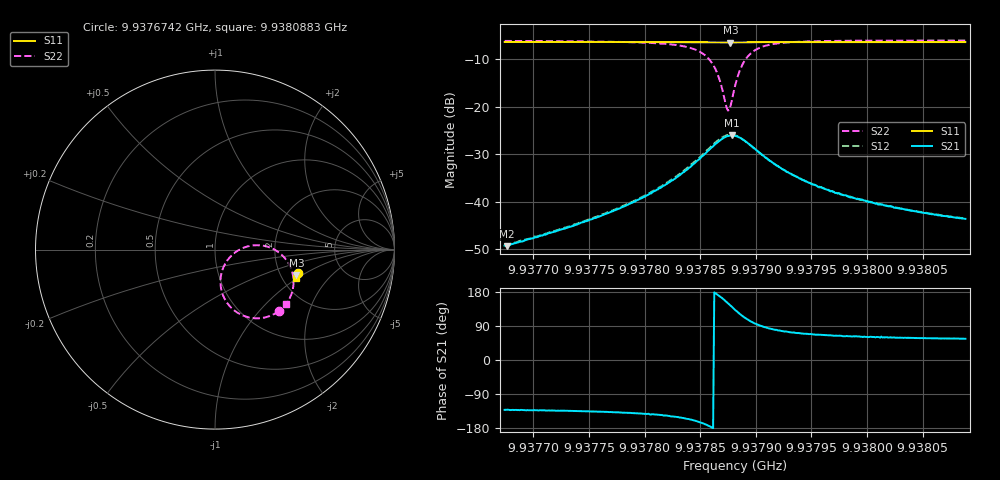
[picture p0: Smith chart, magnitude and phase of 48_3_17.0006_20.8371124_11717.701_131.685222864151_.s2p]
#  HZ  S  RI  R  50.00
! Rohde & Schwarz Vector Network Analyzer
! Rohde-Schwarz,ZNB20-2Port,1311601062101988,3.16
! Created: UTC 3/20/2024, 10:54:11 PM
! freq[Hz]  re:S11  im:S11  re:S21  im:S21  re:S12  im:S12  re:S22  im:S22
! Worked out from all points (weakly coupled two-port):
!   401 points, 9.9376742 GHz to 9.9380883 GHz, reference 50 ohm
!   highest |S21| = -26.01 dB at 9.9378782 GHz (marker M1); lowest = -49.3 dB at 9.9376763 GHz (marker M2)
!   lowest |S11| = -6.5 dB at 9.9378771 GHz (marker M3), VSWR 2.81, Z = 122 - j44.3 ohm
!   |S11| at or under -10 dB: nowhere
!   |S22| runs from -20.8 to -6.0 dB; largest |S21 - S12| = 0.0035
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9.9376742e9  0.4638 -0.1305  -0.00229 -0.00259  -0.00233 -0.0026  0.3559 -0.3425
9.93767627e9  0.4636 -0.1308  -0.00226 -0.00255  -0.00238 -0.00261  0.3553 -0.3426
9.93774357e9  0.4619 -0.1354  -0.00431 -0.00424  -0.0044 -0.00429  0.3341 -0.3565
9.93778291e9  0.4607 -0.1384  -0.00686 -0.00593  -0.00718 -0.00597  0.3085 -0.3685
9.93781294e9  0.4594 -0.1406  -0.0113 -0.00797  -0.0117 -0.00793  0.2687 -0.38
9.93783882e9  0.4579 -0.1426  -0.0201 -0.00913  -0.0212 -0.00893  0.1913 -0.3785
9.93785435e9  0.4562 -0.1434  -0.0315 -0.00578  -0.033 -0.00518  0.1011 -0.3337
9.93786056e9  0.455 -0.1434  -0.0375 -0.00126  -0.0391 0.000477  0.0589 -0.2834
9.9378647e9  0.4543 -0.1432  -0.0413 0.00416  -0.0428 0.00629  0.0372 -0.2318
9.93787402e9  0.4535 -0.1417  -0.0433 0.0228  -0.0431 0.026  0.0585 -0.0758
9.93787713e9  0.4535 -0.1411  -0.0402 0.0294  -0.0393 0.0325  0.0963 -0.0291
9.93787816e9  0.4538 -0.1409  -0.039 0.0314  -0.0376 0.0343  0.1121 -0.0157
9.93788127e9  0.4543 -0.1403  -0.0333 0.0365  -0.0317 0.0389  0.1647 0.0124
9.93788438e9  0.4548 -0.1401  -0.0272 0.0395  -0.0251 0.0415  0.219 0.0239
9.93788852e9  0.4556 -0.14  -0.019 0.0406  -0.0168 0.042  0.2859 0.018
9.93789369e9  0.4564 -0.1404  -0.0103 0.0394  -0.00866 0.0397  0.3484 -0.0106
9.93789991e9  0.4573 -0.1409  -0.0035 0.0353  -0.00185 0.0351  0.3946 -0.0541
9.93792165e9  0.4581 -0.1436  0.00486 0.0225  0.00558 0.0221  0.4374 -0.1672
9.93795064e9  0.4576 -0.1464  0.00576 0.0142  0.00618 0.0142  0.4306 -0.2334
9.9379848e9  0.4567 -0.1492  0.00508 0.00988  0.00543 0.00994  0.4178 -0.2677
9.93802001e9  0.4558 -0.1518  0.00455 0.00775  0.00475 0.00765  0.4078 -0.2863
9.93808834e9  0.4539 -0.1563  0.00369 0.00548  0.00384 0.00544  0.3947 -0.3057
